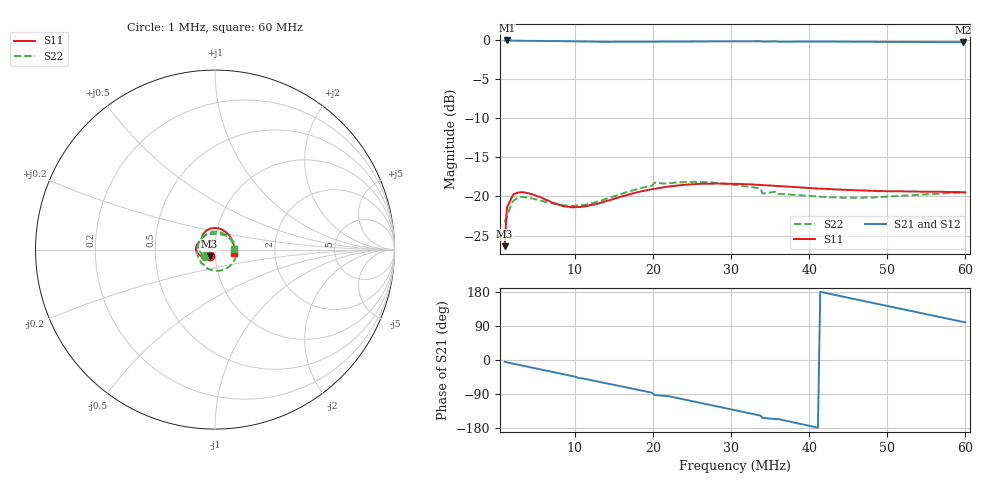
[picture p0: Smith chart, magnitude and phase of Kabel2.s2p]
#  HZ  S  DB  R  50.00
! Rohde & Schwarz ZVT8 8Ports - Version 4.11 - 1300.0000k08 SN: 100242
! Date: 2024-03-13 12:50:38
! Measurements: S11 S21 S12 S22
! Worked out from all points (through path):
!   201 points, 1 MHz to 60 MHz, reference 50 ohm
!   highest |S21| = -0.10 dB at 1.295 MHz (marker M1); lowest = -0.3 dB at 59.7 MHz (marker M2)
!   group delay of S21, straight-line fit = 12 ns
!   lowest |S11| = -26.4 dB at 1 MHz (marker M3), VSWR 1.10, Z = 46.9 - j3.48 ohm
!   |S11| at or under -10 dB: start of sweep to end of sweep
!   |S22| runs from -23.3 to -18.1 dB; largest |S21 - S12| = 0.029
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1000000  -26.36 -129.6  -0.12 -4.7  0.03 -5.0  -23.29 -146.5
1295000  -21.44 -152.8  -0.10 -6.1  0.02 -6.4  -22.53 -159.3
2180000  -19.71 -170.6  -0.12 -10.0  0.01 -10.4  -20.51 177.1
3065000  -19.48 177.0  -0.14 -14.0  -0.02 -14.3  -20.06 158.5
7785000  -21.01 149.0  -0.17 -34.6  -0.09 -35.2  -21.01 100.4
1.103e7  -21.31 145.7  -0.23 -48.7  -0.15 -48.9  -21.11 76.8
1.6045e7  -20.02 136.3  -0.27 -70.1  -0.20 -70.3  -19.65 40.2
1.988e7  -19.09 123.8  -0.26 -86.5  -0.19 -86.6  -18.65 8.0
2.0175e7  -19.05 122.7  -0.27 -92.3  -0.18 -90.7  -18.26 7.7
2.0765e7  -18.94 120.6  -0.26 -93.3  -0.18 -92.2  -18.32 2.0
2.1945e7  -18.75 116.1  -0.26 -95.4  -0.18 -95.5  -18.36 -9.9
2.5485e7  -18.44 102.8  -0.23 -110.6  -0.15 -110.7  -18.16 -41.5
3.05e7  -18.41 84.3  -0.21 -132.4  -0.12 -132.4  -18.53 -87.1
3.3745e7  -18.54 72.6  -0.20 -146.6  -0.12 -146.6  -19.01 -117.4
3.404e7  -18.57 71.4  -0.25 -152.8  -0.16 -152.2  -19.64 -124.1
3.6105e7  -18.70 64.0  -0.27 -156.2  -0.20 -156.3  -19.69 -140.0
4.053e7  -18.97 48.8  -0.25 -176.1  -0.16 -176.2  -19.98 177.1
4.4955e7  -19.18 34.0  -0.25 164.4  -0.17 164.3  -20.19 134.2
5.0265e7  -19.35 17.6  -0.29 141.5  -0.20 141.4  -20.01 84.6
5.528e7  -19.41 3.0  -0.31 119.6  -0.23 119.6  -19.72 39.9
5.9705e7  -19.47 -9.1  -0.32 100.5  -0.24 100.5  -19.54 3.1
6e7  -19.48 -9.9  -0.32 99.3  -0.24 99.2  -19.54 0.7
